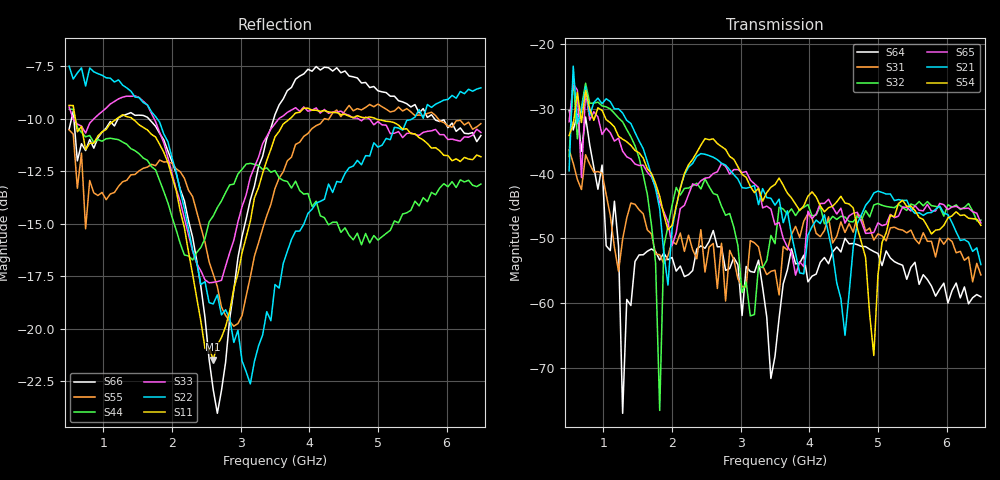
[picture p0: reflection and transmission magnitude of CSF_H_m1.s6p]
!Keysight Technologies,M9804A,MY58100912,A.14.10.03
!Date: Thursday, April 27, 2023 10:28:33
!Correction: S11(C  6-Port  )
!S12(C  6-Port  )
!S13(C  6-Port  )
!S14(C  6-Port  )
!S15(C  6-Port  )
!S16(C  6-Port  )
!S21(C  6-Port  )
!S22(C  6-Port  )
!S23(C  6-Port  )
!S24(C  6-Port  )
!S25(C  6-Port  )
!S26(C  6-Port  )
!S31(C  6-Port  )
!S32(C  6-Port  )
!S33(C  6-Port  )
!S34(C  6-Port  )
!S35(C  6-Port  )
!S36(C  6-Port  )
!S41(C  6-Port  )
!S42(C  6-Port  )
!S43(C  6-Port  )
!S44(C  6-Port  )
!S45(C  6-Port  )
!S46(C  6-Port  )
!S51(C  6-Port  )
!S52(C  6-Port  )
!S53(C  6-Port  )
!S54(C  6-Port  )
!S55(C  6-Port  )
!S56(C  6-Port  )
!S61(C  6-Port  )
!S62(C  6-Port  )
!S63(C  6-Port  )
!S64(C  6-Port  )
!S65(C  6-Port  )
!S66(C  6-Port  )
!S6P File: Measurement: :
# Hz S  RI  R 50
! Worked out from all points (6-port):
!   101 points, 500 MHz to 6.5 GHz, reference 50 ohm
!   strongest paths, dB at 500 MHz, 2 GHz, 3.5 GHz, 5 GHz, 6.5 GHz:
!     S54: -34.1, -48.0, -41.7, -55.6, -48.0
!     S21: -39.6, -48.5, -44.9, -42.7, -54.0
!     S65: -32.0, -51.1, -47.9, -47.6, -47.6
!     S32: -37.4, -44.9, -50.8, -44.6, -47.2
!     S31: -36.3, -50.4, -54.9, -49.3, -55.6
!     S64: -30.3, -52.9, -68.2, -52.3, -59.0
!   lowest |S11| = -21.5 dB at 2.6 GHz (marker M1), VSWR 1.18, Z = 42.5 + j2.16 ohm
!   |S11| at or under -10 dB: 590.5 MHz to 1.193 GHz (602.1 MHz wide, 67.5 % of centre); 1.424 GHz to 3.715 GHz (2.29 GHz wide, 89.1 % of centre); 4.976 GHz to end of sweep
